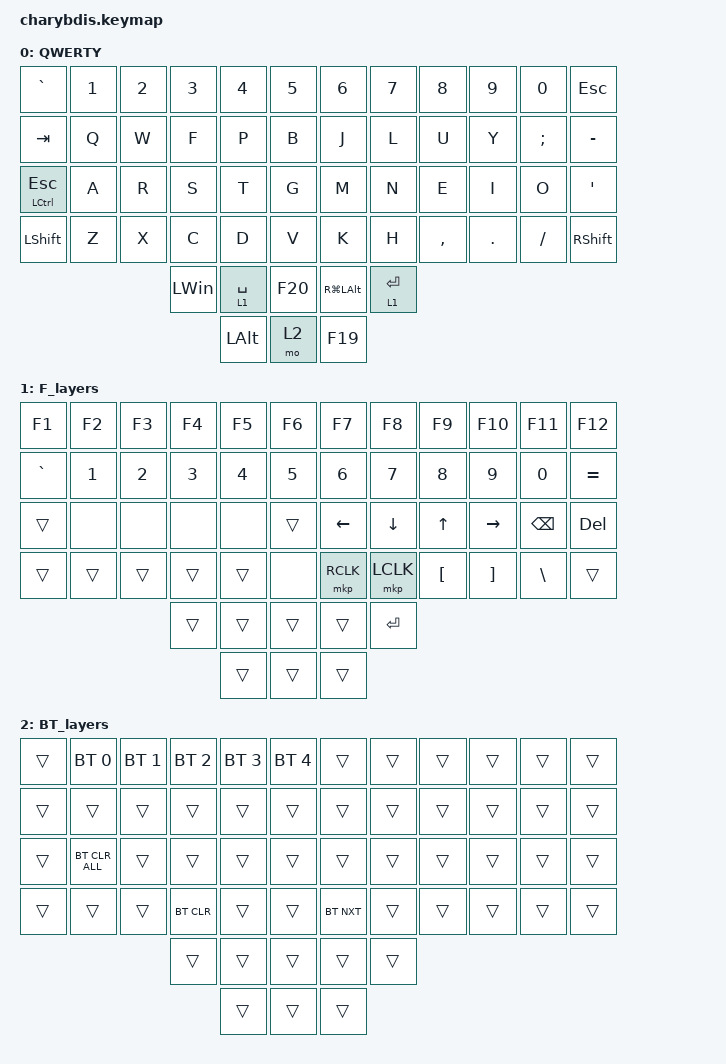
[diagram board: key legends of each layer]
#include <behaviors.dtsi>
#include <dt-bindings/zmk/bt.h>
#include <dt-bindings/zmk/keys.h>
#include <dt-bindings/zmk/pointing.h>

&lt {
    tapping-term-ms = <200>;
    flavor = "balanced";
    quick-tap-ms = <150>;
};

&mt {
    tapping-term-ms = <150>;
    flavor = "hold-preferred";
    quick-tap-ms = <0>;
    // Press Ctrl immediately; release it before sending a standalone Esc tap.
    hold-while-undecided;
};

/ {
    keymap {
        compatible = "zmk,keymap";

        QWERTY {
            bindings = <
&kp GRAVE                &kp N1  &kp N2  &kp N3        &kp N4        &kp N5    &kp N6            &kp N7       &kp N8     &kp N9   &kp N0         &kp ESCAPE
&kp TAB                  &kp Q   &kp W   &kp F         &kp P         &kp B     &kp J             &kp L        &kp U      &kp Y    &kp SEMICOLON  &kp MINUS
&mt LEFT_CONTROL ESCAPE  &kp A   &kp R   &kp S         &kp T         &kp G     &kp M             &kp N        &kp E      &kp I    &kp O          &kp SQT
&kp LEFT_SHIFT           &kp Z   &kp X   &kp C         &kp D         &kp V     &kp K             &kp H        &kp COMMA  &kp DOT  &kp FSLH       &kp RIGHT_SHIFT
                                         &kp LEFT_WIN  &lt 1 SPACE   &kp F20   &kp RG(LEFT_ALT)  &lt 1 ENTER
                                                       &kp LEFT_ALT  &mo 2     &kp F19
            >;
        };

        F_layers {
            bindings = <
&kp F1     &kp F2  &kp F3  &kp F4  &kp F5  &kp F6        &kp F7     &kp F8     &kp F9            &kp F10            &kp F11        &kp F12
&kp GRAVE  &kp N1  &kp N2  &kp N3  &kp N4  &kp N5        &kp N6     &kp N7     &kp N8            &kp N9             &kp N0         &kp EQUAL
&trans     &none   &none   &none   &none   &trans        &kp LEFT   &kp DOWN   &kp UP_ARROW      &kp RIGHT          &kp BACKSPACE  &kp DELETE
&trans     &trans  &trans  &trans  &trans  &none         &mkp RCLK  &mkp LCLK  &kp LEFT_BRACKET  &kp RIGHT_BRACKET  &kp BACKSLASH  &trans
                           &trans  &trans  &trans         &trans     &kp ENTER
                                   &trans  &trans        &trans
            >;
        };

        BT_layers {
            bindings = <
&trans  &bt BT_SEL 0    &bt BT_SEL 1  &bt BT_SEL 2  &bt BT_SEL 3  &bt BT_SEL 4    &trans      &trans  &trans  &trans  &trans  &trans
&trans  &trans          &trans        &trans        &trans        &trans          &trans      &trans  &trans  &trans  &trans  &trans
&trans  &bt BT_CLR_ALL  &trans        &trans        &trans        &trans          &trans      &trans  &trans  &trans  &trans  &trans
&trans  &trans          &trans        &bt BT_CLR    &trans        &trans          &bt BT_NXT  &trans  &trans  &trans  &trans  &trans
                                      &trans        &trans        &trans          &trans      &trans
                                                    &trans        &trans          &trans
            >;
        };

    };
};
